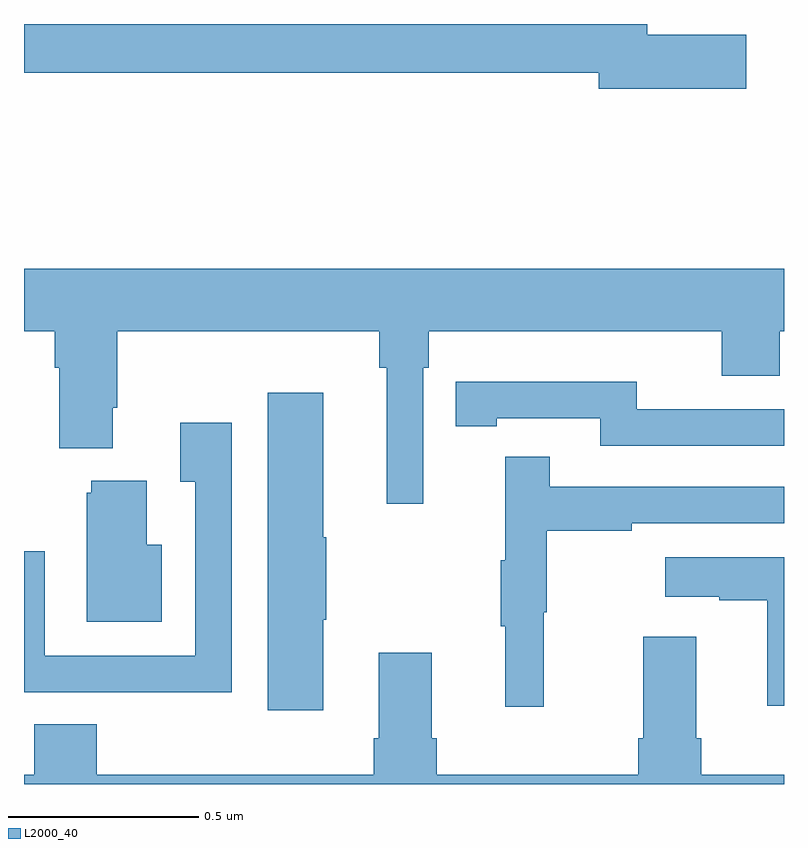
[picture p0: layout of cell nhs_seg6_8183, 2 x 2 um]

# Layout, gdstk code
import gdstk
lib = gdstk.Library(unit=1e-6, precision=1e-09)
def P(c, l, *ps):  # polygons
    for p in ps: c.add(gdstk.Polygon(p, *l))
L2000_40 = (2000, 40)

nhs_seg6_8183 = lib.new_cell('nhs_seg6_8183')
P(nhs_seg6_8183, L2000_40, [(219.901,925.472),(219.64,925.472),(219.64,925.5),(218,925.5),(218,925.372),(219.512,925.372),(219.512,925.33),(219.901,925.33)],
  [(218,924.692),(218.081,924.692),(218.081,924.596),(218.093,924.596),(218.093,924.383),(218.233,924.383),(218.233,924.49),(218.246,924.49),(218.246,924.692),(218.935,924.692),(218.935,924.596),(218.954,924.596),(218.954,924.237),(219.051,924.237),(219.051,924.596),(219.065,924.596),(219.065,924.692),(219.836,924.692),(219.836,924.575),(219.989,924.575),(219.989,924.692),(220,924.692),(220,924.856),(218,924.856)],
  [(220,924.486),(219.612,924.486),(219.612,924.559),(219.244,924.559),(219.244,924.558),(219.136,924.558),(219.136,924.442),(219.244,924.442),(219.244,924.462),(219.516,924.462),(219.516,924.39),(220,924.39)],
  [(218.788,923.932),(218.796,923.932),(218.796,924.149),(218.788,924.149),(218.788,924.529),(218.642,924.529),(218.642,923.694),(218.788,923.694)],
  [(218.547,924.451),(218.411,924.451),(218.411,924.295),(218.451,924.295),(218.451,923.838),(218.055,923.838),(218.055,924.112),(218,924.112),(218,923.742),(218.275,923.742),(218.275,923.741),(218.547,923.741)],
  [(219.368,923.952),(219.376,923.952),(219.376,924.166),(219.599,924.166),(219.599,924.186),(220,924.186),(220,924.282),(219.383,924.282),(219.383,924.361),(219.266,924.361),(219.266,924.089),(219.255,924.089),(219.255,923.915),(219.266,923.915),(219.266,923.703),(219.368,923.703)],
  [(218.362,924.13),(218.323,924.13),(218.323,924.298),(218.177,924.298),(218.177,924.267),(218.165,924.267),(218.165,923.927),(218.362,923.927)],
  [(220,924.097),(219.687,924.097),(219.687,923.993),(219.83,923.993),(219.83,923.983),(219.956,923.983),(219.956,923.706),(220,923.706)],
  [(220,923.524),(219.782,923.524),(219.782,923.62),(219.769,923.62),(219.769,923.887),(219.629,923.887),(219.629,923.62),(219.617,923.62),(219.617,923.524),(219.086,923.524),(219.086,923.62),(219.073,923.62),(219.073,923.845),(218.933,923.845),(218.933,923.62),(218.921,923.62),(218.921,923.524),(218.192,923.524),(218.192,923.657),(218.027,923.657),(218.027,923.524),(218,923.524),(218,923.5),(220,923.5)])

lib.write_gds('nhs_seg6_8183.gds')
